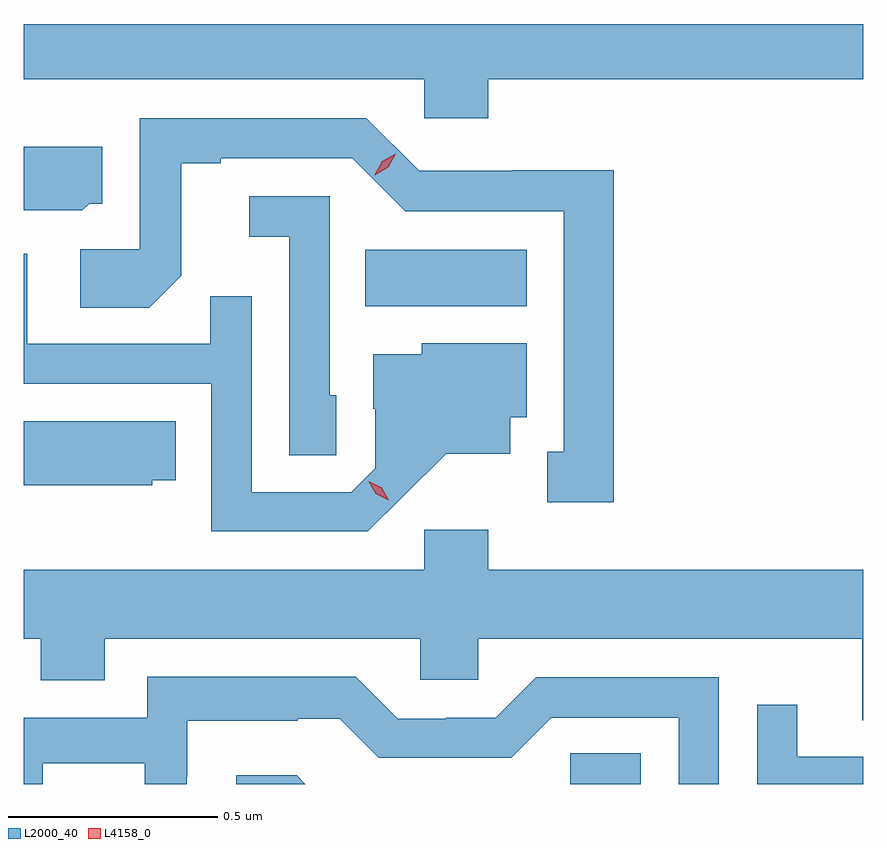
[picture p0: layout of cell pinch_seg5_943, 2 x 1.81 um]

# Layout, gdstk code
import gdstk
lib = gdstk.Library(unit=1e-6, precision=1e-09)
def R(c, l, rs):  # rectangles x0, y0, x1, y1
    for r in rs: c.add(gdstk.rectangle(r[:2], r[2:], *l))
def P(c, l, *ps):  # polygons
    for p in ps: c.add(gdstk.Polygon(p, *l))
L2000_40 = (2000, 40)
L4158_0 = (4158, 0)

pinch_seg5_943 = lib.new_cell('pinch_seg5_943')
R(pinch_seg5_943, L2000_40, [(663.552,913.69,663.72,913.763), (663.064,914.828,663.448,914.962)])
P(pinch_seg5_943, L2000_40, [(663.356,915.368),(664.25,915.368),(664.25,915.5),(662.25,915.5),(662.25,915.368),(663.204,915.368),(663.204,915.275),(663.356,915.275)],
  [(663.655,915.152),(663.414,915.152),(663.414,915.15),(663.192,915.15),(663.066,915.276),(662.526,915.276),(662.526,914.964),(662.385,914.964),(662.385,914.824),(662.549,914.824),(662.625,914.9),(662.625,915.168),(662.719,915.168),(662.719,915.18),(663.033,915.18),(663.159,915.054),(663.536,915.054),(663.536,914.481),(663.497,914.481),(663.497,914.361),(663.655,914.361)],
  [(662.406,915.072),(662.437,915.072),(662.437,915.208),(662.25,915.208),(662.25,915.057),(662.256,915.057),(662.256,915.056),(662.39,915.056)],
  [(662.994,914.616),(662.979,914.616),(662.979,915.09),(662.787,915.09),(662.787,914.993),(662.883,914.993),(662.883,914.473),(662.994,914.473)],
  [(663.154,914.375),(663.257,914.477),(663.409,914.477),(663.409,914.564),(663.448,914.564),(663.448,914.74),(663.198,914.74),(663.198,914.713),(663.083,914.713),(663.083,914.584),(663.087,914.584),(663.087,914.442),(663.03,914.385),(662.793,914.385),(662.793,914.852),(662.695,914.852),(662.695,914.739),(662.259,914.739),(662.259,914.953),(662.25,914.953),(662.25,914.643),(662.697,914.643),(662.697,914.292),(663.07,914.292)],
  [(662.556,914.414),(662.612,914.414),(662.612,914.554),(662.25,914.554),(662.25,914.402),(662.556,914.402)],
  [(664.25,914.2),(663.356,914.2),(663.356,914.296),(663.204,914.296),(663.204,914.2),(662.25,914.2),(662.25,914.036),(662.291,914.036),(662.291,913.937),(662.443,913.937),(662.443,914.036),(663.195,914.036),(663.195,913.938),(663.333,913.938),(663.333,914.036),(664.247,914.036),(664.247,913.842),(664.25,913.842)],
  [(662.295,913.74),(662.539,913.74),(662.539,913.69),(662.638,913.69),(662.638,913.707),(662.64,913.707),(662.64,913.841),(662.903,913.841),(662.903,913.845),(663.003,913.845),(663.096,913.752),(663.411,913.752),(663.507,913.848),(663.81,913.848),(663.81,913.69),(663.906,913.69),(663.906,913.944),(663.471,913.944),(663.375,913.848),(663.257,913.848),(663.257,913.845),(663.141,913.845),(663.041,913.945),(662.544,913.945),(662.544,913.848),(662.25,913.848),(662.25,913.69),(662.295,913.69)],
  [(664.25,913.755),(664.093,913.755),(664.093,913.879),(663.997,913.879),(663.997,913.69),(664.25,913.69)],
  [(662.9,913.711),(662.757,913.711),(662.757,913.69),(662.921,913.69)])
P(pinch_seg5_943, L4158_0, [(663.086,915.14),(663.086,915.141),(663.104,915.173),(663.136,915.191),(663.136,915.191),(663.136,915.191),(663.118,915.159),(663.086,915.14)],
  [(663.12,914.366),(663.089,914.381),(663.072,914.41),(663.072,914.411),(663.072,914.411),(663.103,914.396),(663.12,914.366),(663.12,914.366)])

lib.write_gds('pinch_seg5_943.gds')
